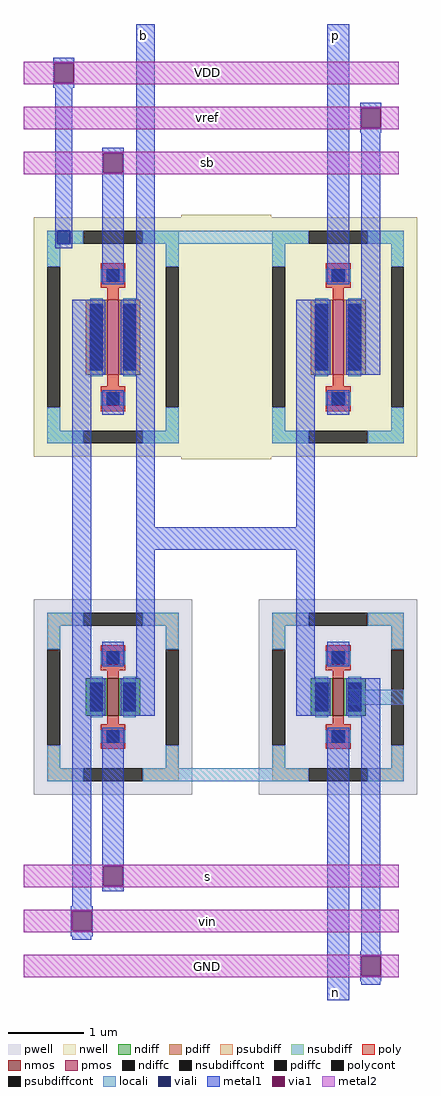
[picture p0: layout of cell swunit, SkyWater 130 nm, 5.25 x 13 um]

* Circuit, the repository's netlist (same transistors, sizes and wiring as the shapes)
* NGSPICE file created from swunit.ext - technology: sky130A

.subckt sky130_fd_pr__nfet_01v8_PHAC7Z B D S G
X0 S G D B sky130_fd_pr__nfet_01v8 ad=0.145 pd=1.58 as=0.145 ps=1.58 w=0.5 l=0.15
.ends

.subckt sky130_fd_pr__pfet_01v8_7HN6Y2 B D S G
X0 S G D B sky130_fd_pr__pfet_01v8 ad=0.29 pd=2.58 as=0.29 ps=2.58 w=1 l=0.15
.ends

.subckt swunit b vin vref p n s sb VDD GND
XMN GND b GND n sky130_fd_pr__nfet_01v8_PHAC7Z
XMP VDD b vref p sky130_fd_pr__pfet_01v8_7HN6Y2
XMS1 GND vin b s sky130_fd_pr__nfet_01v8_PHAC7Z
XMS2 VDD vin b sb sky130_fd_pr__pfet_01v8_7HN6Y2
.ends

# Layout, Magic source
magic
tech sky130A
magscale 1 2
<< nwell >>
rect 340 840 580 1492
<< locali >>
rect 333 1415 583 1449
rect 785 187 933 227
rect 333 -17 583 17
<< viali >>
rect 10 1415 44 1449
<< metal1 >>
rect -1 1896 55 1910
rect -1 1844 1 1896
rect 53 1844 55 1896
rect -1 1830 55 1844
rect 4 1449 50 1830
rect 4 1415 10 1449
rect 44 1415 50 1449
rect 4 1403 50 1415
rect 129 1656 187 1670
rect 129 1604 132 1656
rect 184 1604 187 1656
rect 129 1307 187 1604
rect 220 1266 270 2000
rect 729 1307 787 2000
rect 817 1776 873 1790
rect 817 1724 819 1776
rect 871 1724 873 1776
rect 817 1710 873 1724
rect 820 1266 870 1710
rect 50 1066 137 1266
rect 179 1066 270 1266
rect 50 257 100 1066
rect 129 959 187 1025
rect 220 660 270 1066
rect 646 1066 737 1266
rect 779 1066 870 1266
rect 646 660 696 1066
rect 729 959 787 1025
rect 220 600 696 660
rect 129 289 187 355
rect 220 257 270 600
rect 50 157 137 257
rect 179 157 270 257
rect 646 257 696 600
rect 729 289 787 355
rect 646 157 737 257
rect 779 157 870 257
rect 50 -350 100 157
rect 129 -244 187 125
rect 129 -296 132 -244
rect 184 -296 187 -244
rect 129 -310 187 -296
rect 46 -364 104 -350
rect 46 -416 49 -364
rect 101 -416 104 -364
rect 46 -430 104 -416
rect 50 -440 100 -430
rect 729 -600 787 125
rect 820 -470 870 157
rect 817 -484 873 -470
rect 817 -536 819 -484
rect 871 -536 873 -484
rect 817 -550 873 -536
rect 820 -560 870 -550
<< via1 >>
rect 1 1844 53 1896
rect 132 1604 184 1656
rect 819 1724 871 1776
rect 132 -296 184 -244
rect 49 -416 101 -364
rect 819 -536 871 -484
<< metal2 >>
rect -80 1896 920 1900
rect -80 1844 1 1896
rect 53 1844 920 1896
rect -80 1840 920 1844
rect -80 1776 920 1780
rect -80 1724 819 1776
rect 871 1724 920 1776
rect -80 1720 920 1724
rect -80 1656 920 1660
rect -80 1604 132 1656
rect 184 1604 920 1656
rect -80 1600 920 1604
rect -80 -244 920 -240
rect -80 -296 132 -244
rect 184 -296 920 -244
rect -80 -300 920 -296
rect -80 -364 920 -360
rect -80 -416 49 -364
rect 101 -416 920 -364
rect -80 -420 920 -416
rect -80 -484 920 -480
rect -80 -536 819 -484
rect 871 -536 920 -484
rect -80 -540 920 -536
use sky130_fd_pr__nfet_01v8_PHAC7Z  MN
transform 1 0 758 0 1 207
box -211 -260 211 260
use sky130_fd_pr__pfet_01v8_7HN6Y2  MP
transform 1 0 758 0 1 1166
box -211 -319 211 319
use sky130_fd_pr__nfet_01v8_PHAC7Z  MS1
transform 1 0 158 0 1 207
box -211 -260 211 260
use sky130_fd_pr__pfet_01v8_7HN6Y2  MS2
transform 1 0 158 0 1 1166
box -211 -319 211 319
<< labels >>
rlabel metal1 230 1960 250 1980 0 b
port 1 nsew
rlabel metal2 400 -400 420 -380 0 vin
port 2 nsew
rlabel metal2 400 1740 420 1760 0 vref
port 3 nsew
rlabel metal1 740 1960 760 1980 0 p
port 4 nsew
rlabel metal1 740 -590 760 -570 0 n
port 5 nsew
rlabel metal2 400 -280 420 -260 0 s
port 6 nsew
rlabel metal2 400 1620 420 1640 0 sb
port 7 nsew
rlabel metal2 400 1860 420 1880 0 VDD
port 8 nsew
rlabel metal2 400 -520 420 -500 0 GND
port 9 nsew
<< end >>

# cell sky130_fd_pr__nfet_01v8_PHAC7Z: kit device sky130_fd_pr__nfet_01v8, w 0.5 l 0.15 m 1 nf 1 diffcov 100 polycov 100 guard 1 glc 1 grc 1 gtc 1 gbc 1 tbcov 100 rlcov 100 topc 1 botc 1 poverlap 0 doverlap 1 lmin 0.15 wmin 0.42 class mosfet compatible {sky130_fd_pr__nfet_01v8 sky130_fd_pr__nfet_01v8_lvt sky130_fd_bs_flash__special_sonosfet_star sky130_fd_pr__nfet_g5v0d10v5 sky130_fd_pr__nfet_05v0_nvt sky130_fd_pr__nfet_03v3_nvt} full_metal 1 conn_gates 0 viasrc 100 viadrn 100 viagate 100 viagb 0 viagr 0 viagl 0 viagt 0 doports 1

# cell sky130_fd_pr__pfet_01v8_7HN6Y2: kit device sky130_fd_pr__pfet_01v8, w 1 l 0.15 m 1 nf 1 diffcov 100 polycov 100 guard 1 glc 1 grc 1 gtc 1 gbc 1 tbcov 100 rlcov 100 topc 1 botc 1 poverlap 0 doverlap 1 lmin 0.15 wmin 0.42 class mosfet compatible {sky130_fd_pr__pfet_01v8 sky130_fd_pr__pfet_01v8_lvt sky130_fd_pr__pfet_01v8_hvt sky130_fd_pr__pfet_g5v0d10v5} full_metal 1 conn_gates 0 viasrc 100 viadrn 100 viagate 100 viagb 0 viagr 0 viagl 0 viagt 0 doports 1
